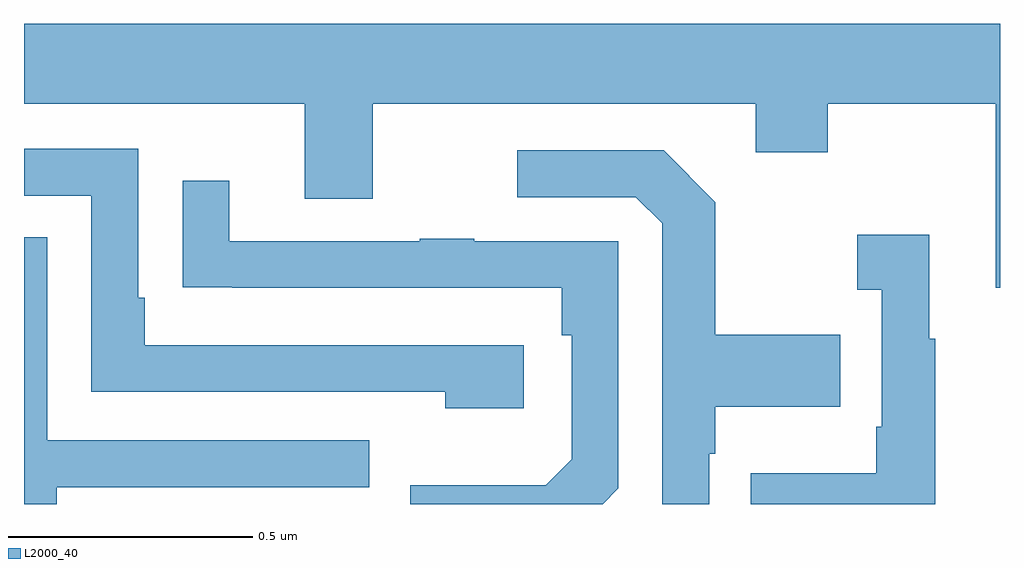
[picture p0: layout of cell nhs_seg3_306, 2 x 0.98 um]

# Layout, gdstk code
import gdstk
lib = gdstk.Library(unit=1e-6, precision=1e-09)
def P(c, l, *ps):  # polygons
    for p in ps: c.add(gdstk.Polygon(p, *l))
L2000_40 = (2000, 40)

nhs_seg3_306 = lib.new_cell('nhs_seg3_306')
P(nhs_seg3_306, L2000_40, [(116,730.384),(114,730.384),(114,730.22),(114.575,730.22),(114.575,730.026),(114.715,730.026),(114.715,730.22),(115.499,730.22),(115.499,730.121),(115.647,730.121),(115.647,730.22),(115.991,730.22),(115.991,729.843),(116,729.843)],
  [(115.024,729.726),(114.247,729.726),(114.247,729.823),(114.234,729.823),(114.234,730.128),(114,730.128),(114,730.032),(114.138,730.032),(114.138,729.63),(114.863,729.63),(114.863,729.596),(115.024,729.596)],
  [(115.404,729.503),(115.417,729.503),(115.417,729.599),(115.673,729.599),(115.673,729.747),(115.417,729.747),(115.417,730.019),(115.311,730.125),(115.011,730.125),(115.011,730.029),(115.254,730.029),(115.308,729.975),(115.308,729.4),(115.404,729.4)],
  [(115.218,729.432),(115.218,729.939),(114.923,729.939),(114.923,729.944),(114.811,729.944),(114.811,729.939),(114.421,729.939),(114.421,730.063),(114.325,730.063),(114.325,729.844),(114.427,729.844),(114.427,729.843),(115.102,729.843),(115.102,729.746),(115.122,729.746),(115.122,729.492),(115.069,729.439),(114.792,729.439),(114.792,729.4),(115.186,729.4)],
  [(115.867,729.739),(115.855,729.739),(115.855,729.952),(115.707,729.952),(115.707,729.839),(115.758,729.839),(115.758,729.559),(115.746,729.559),(115.746,729.463),(115.489,729.463),(115.489,729.4),(115.867,729.4)],
  [(114.067,729.435),(114.707,729.435),(114.707,729.531),(114.048,729.531),(114.048,729.947),(114,729.947),(114,729.4),(114.067,729.4)])

lib.write_gds('nhs_seg3_306.gds')
